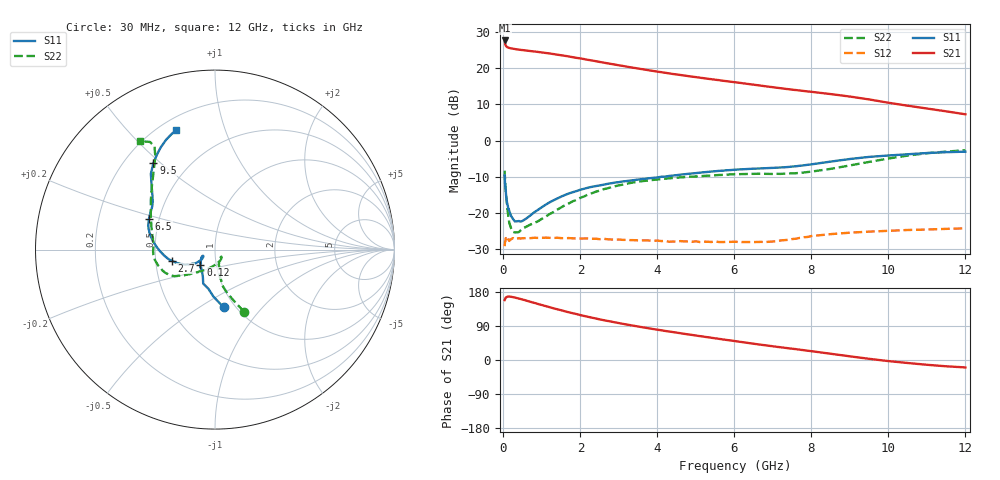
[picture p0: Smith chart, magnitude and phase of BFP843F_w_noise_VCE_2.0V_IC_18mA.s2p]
! Infineon Technologies  Discrete & RF Semiconductors
! BFP843F
! VCE =  2.0 V,  IC =  18 mA
! Common Emitter S-Parameters:  Aug 2013
# GHz  S  MA  R  50
!  f  S11  S21  S12  S22
! GHz  MAG  ANG  MAG  ANG  MAG  ANG  MAG  ANG
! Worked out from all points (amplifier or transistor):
!   103 points, 30 MHz to 12 GHz, reference 50 ohm
!   highest |S21| = 27.8 dB at 30 MHz (marker M1)
!   |S21| within 3 dB of that: start of sweep to 749.4 MHz
!   unconditionally stable (mu >= 1): 134.1 MHz to end of sweep
!   at 400 MHz: K = 1.01, MAG = 25.4 dB, |S12| = -27.1 dB
!   at 3.7 GHz: K = 1.21, MAG = 20.9 dB, |S12| = -27.7 dB
!   at 12 GHz: K = 1.23, MAG = 13.0 dB, |S12| = -24.4 dB
!   lowest NFmin = 0.88 dB at 450 MHz
!   S11 on the Smith chart (normalised r, x): 30 MHz: 0.89, -0.64; 120 MHz: 0.84, -0.14; 2.7 GHz: 0.61, -0.08; 6.5 GHz: 0.44, +0.18; 9.5 GHz: 0.32, +0.47; 12 GHz: 0.27, +0.69
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0.03  0.3257 -81.5  24.5 158.0  0.0341 28.2  0.3811 -65.0
0.04  0.2615 -92.0  22.58 159.8  0.039 19.4  0.2971 -70.3
0.05  0.2215 -99.5  21.42 163.0  0.0399 17.2  0.2431 -75.0
0.06  0.2001 -109.2  20.87 164.3  0.0442 13.2  0.2049 -78.3
0.08  0.1506 -117.8  20.17 166.1  0.0425 14.6  0.1551 -79.9
0.12  0.1169 -133.9  19.57 167.3  0.0423 9.7  0.0953 -75.8
0.15  0.1055 -139.0  19.32 167.5  0.0403 8.5  0.0723 -73.3
0.25  0.0809 -152.4  18.82 165.8  0.0441 6.4  0.0538 -56.4
0.9  0.1091 -143.8  16.97 147.8  0.0444 1.5  0.0758 -79.8
1.3  0.1477 -148.2  15.86 136.4  0.0444 0.2  0.1014 -103.6
1.7  0.1842 -153.0  14.68 125.8  0.0442 -0.4  0.1337 -119.6
2.1  0.2142 -159.0  13.49 116.1  0.0436 0.1  0.1675 -130.5
2.7  0.2498 -165.9  11.8 103.2  0.0425 -0.2  0.2166 -139.4
3.4  0.2822 -172.8  10.18 90.1  0.0413 0.3  0.2633 -146.0
4.1  0.3136 -179.9  8.892 78.4  0.0401 2.1  0.2907 -151.3
5  0.3527 171.2  7.586 64.6  0.0398 5.3  0.3169 -159.6
6.1  0.3956 160.0  6.355 48.6  0.039 9.7  0.3404 -171.7
6.5  0.4064 154.9  5.96 43.0  0.0389 12.6  0.3442 -176.4
8.5  0.5093 134.0  4.412 16.5  0.0501 21.8  0.4038 152.4
9.5  0.592 125.4  3.717 3.1  0.0543 19.3  0.5043 134.1
10.5  0.6441 118.1  3.043 -7.9  0.0572 18.6  0.6172 122.6
12  0.6996 107.9  2.312 -19.6  0.0603 19.7  0.7339 124.5
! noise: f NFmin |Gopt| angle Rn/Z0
0.45  0.88  0.03  174  0.07
0.9  0.88  0.04  164  0.08
1.5  0.92  0.05  160  0.09
1.9  0.96  0.06  161  0.09
2.4  1  0.08  167  0.1
3.5  1.05  0.11  175  0.15
5.5  1.15  0.2  -150  0.21
10  1.67  0.38  -106  0.32
